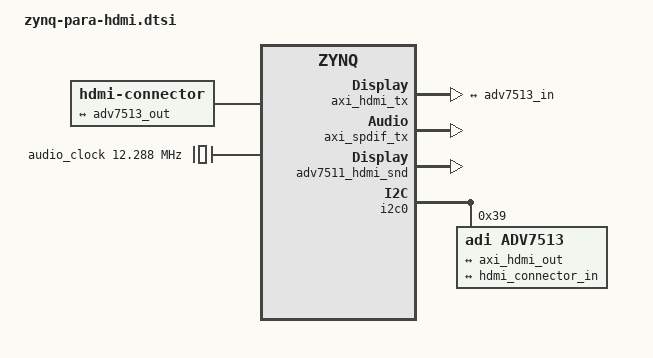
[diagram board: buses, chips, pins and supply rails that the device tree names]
// SPDX-License-Identifier: GPL-2.0
/*
 * Copyright (c) 2014 SUSE LINUX Products GmbH
 * Copyright (c) 2015 SUSE Linux GmbH
 * Copyright (c) 2022 Ola Jeppsson
 *
 */
/delete-node/ &hdmi_0_axi_clkgen_0;
/delete-node/ &hdmi_0_axi_dmac_0;
/delete-node/ &hdmi_0_axi_hdmi_tx_0;
/delete-node/ &hdmi_0_axi_spdif_tx_0;
/delete-node/ &misc_clk_1;
/delete-node/ &misc_clk_0;

/ {
	hdmi-connector {
		compatible = "hdmi-connector";
		type = "d";
		label = "hdmi";

		port {
			hdmi_connector_in: endpoint {
				remote-endpoint = <&adv7513_out>;
			};
		};
	};
};

&amba_pl {
	hdmi_clock: axi-clkgen@66000000 {
		compatible = "adi,axi-clkgen-2.00.a";
		reg = <0x66000000 0x10000>;
		#clock-cells = <0>;
        clock-names = "clkin1", "s_axi_aclk";
		clocks = <&clkc 17>, <&clkc 15>;
	};

	hdmi_dmac: axi_dmac@43000000 {
		compatible = "adi,axi-dmac-1.00.a";
		reg = <0x43000000 0x10000>;
		#dma-cells = <1>;
		interrupts = <0 59 4>;
		interrupt-parent = <&intc>;
        clock-names = "m_axis_aclk", "m_src_axi_aclk", "s_axi_aclk";
		clocks = <&clkc 15>, <&clkc 15>, <&clkc 15>;

		adi,channels {
			#size-cells = <0>;
			#address-cells = <1>;

			dma-channel@0 {
				reg = <0>;
				adi,source-bus-width = <64>;
				adi,source-bus-type = <0>;
				adi,destination-bus-width = <64>;
				adi,destination-bus-type = <1>;
			};
		};
	};

	axi_hdmi_tx: axi_hdmi_tx@6c000000 {
		compatible = "adi,axi-hdmi-tx-1.00.a";
		reg = <0x6c000000 0x10000>;
		dmas = <&hdmi_dmac 0>;
		dma-names = "video";
        clock-names = "reference_clk";
		clocks = <&hdmi_clock>;
		adi,is-rgb;

		port {
			axi_hdmi_out: endpoint {
				remote-endpoint = <&adv7513_in>;
			};
		};
	};

	audio_clock: audio-clock {
		compatible = "fixed-clock";
		#clock-cells = <0>;
		clock-frequency = <12288000>;
	};

	axi_spdif_tx: axi-spdif-tx@75c00000 {
		compatible = "adi,axi-spdif-tx-1.00.a";
		reg = <0x75c00000 0x1000>;
        clock-names = "dma_req_aclk", "s_axi_aclk", "spdif_data_clk";
		clocks = <&clkc 15>, <&clkc 15>, <&audio_clock>;
		dmas = <&dmac_s 0>;
		dma-names = "tx";

		#sound-dai-cells = <0>;
	};

	adv7511_hdmi_snd: adv7511_hdmi_snd {
		compatible = "adv7511-hdmi-snd";
		audio-codec = <&adv7513>;
		cpu-dai = <&axi_spdif_tx>;
	};
};

&i2c0 {
	adv7513: hdmi@39 {
		compatible = "adi,adv7513";
		reg = <0x39>;
		adi,input-depth = <0x8>;
        adi,input-colorspace = "rgb";
		adi,input-style = <0x2>;
        adi,input-clock = "1x";
		adi,clock-delay = <0x3>;
        adi,input-justification = "evenly";
		adi,input-id = <0x1>;
		adi,sync-pulse = <0x3>;
		adi,up-conversion = <0x0>;
		adi,timing-generation-sequence = <0x0>;
		adi,vsync-polarity = <0x2>;
		adi,hsync-polarity = <0x2>;
		adi,tdms-clock-inversion;

		#sound-dai-cells = <0>;

		ports {
			#address-cells = <1>;
			#size-cells = <0>;

			port@0 {
				reg = <0>;

				adv7513_in: endpoint {
					remote-endpoint = <&axi_hdmi_out>;
				};
			};

			port@1 {
				reg = <1>;

				adv7513_out: endpoint {
					remote-endpoint = <&hdmi_connector_in>;
				};
			};
		};
	};
};
